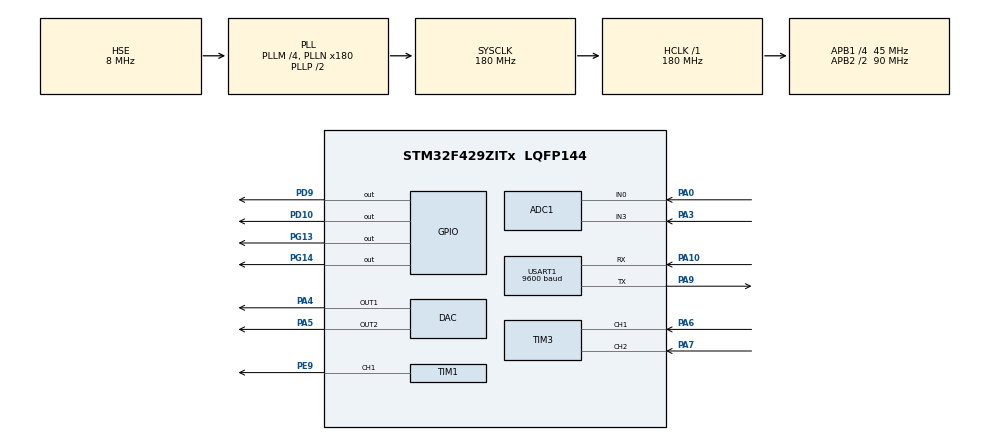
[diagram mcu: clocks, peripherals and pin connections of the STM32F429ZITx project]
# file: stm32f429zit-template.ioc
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ADC1.Channel-0\#ChannelRegularConversion=ADC_CHANNEL_0
ADC1.Channel-8\#ChannelRegularConversion=ADC_CHANNEL_3
ADC1.ContinuousConvMode=DISABLE
ADC1.DMAContinuousRequests=ENABLE
ADC1.EOCSelection=ADC_EOC_SINGLE_CONV
ADC1.ExternalTrigConv=ADC_EXTERNALTRIGCONV_T2_CC2
ADC1.ExternalTrigConvEdge=ADC_EXTERNALTRIGCONVEDGE_FALLING
ADC1.NbrOfConversion=2
ADC1.NbrOfConversionFlag=1
ADC1.Rank-0\#ChannelRegularConversion=1
ADC1.Rank-8\#ChannelRegularConversion=2
ADC1.SamplingTime-0\#ChannelRegularConversion=ADC_SAMPLETIME_15CYCLES
ADC1.SamplingTime-8\#ChannelRegularConversion=ADC_SAMPLETIME_15CYCLES
ADC1.master=1
Dma.ADC1.0.Direction=DMA_PERIPH_TO_MEMORY
Dma.ADC1.0.FIFOMode=DMA_FIFOMODE_DISABLE
Dma.ADC1.0.Instance=DMA2_Stream0
Dma.ADC1.0.MemDataAlignment=DMA_MDATAALIGN_HALFWORD
Dma.ADC1.0.MemInc=DMA_MINC_ENABLE
Dma.ADC1.0.Mode=DMA_CIRCULAR
Dma.ADC1.0.PeriphDataAlignment=DMA_PDATAALIGN_HALFWORD
Dma.ADC1.0.PeriphInc=DMA_PINC_DISABLE
Dma.ADC1.0.Priority=DMA_PRIORITY_LOW
Dma.Request0=ADC1
FREERTOS.Tasks01=defaultTask,24,128,StartDefaultTask,Default,NULL,Dynamic,NULL,NULL
FREERTOS.configUSE_NEWLIB_REENTRANT=1
Mcu.Family=STM32F4
Mcu.Name=STM32F429ZITx
Mcu.Package=LQFP144
NVIC.ADC_IRQn=true\:5\:0\:false\:false\:true\:true\:true\:true\:true
NVIC.DMA2_Stream0_IRQn=true\:5\:0\:false\:false\:true\:true\:false\:true\:true
NVIC.PriorityGroup=NVIC_PRIORITYGROUP_4
NVIC.TIM2_IRQn=true\:5\:0\:false\:false\:true\:true\:true\:true\:true
NVIC.TIM3_IRQn=true\:5\:0\:false\:false\:true\:true\:true\:true\:true
NVIC.TIM6_DAC_IRQn=true\:15\:0\:false\:false\:true\:false\:false\:true\:true
NVIC.TIM7_IRQn=true\:5\:0\:false\:false\:true\:true\:true\:true\:true
NVIC.TIM8_TRG_COM_TIM14_IRQn=true\:15\:0\:false\:false\:true\:false\:false\:true\:true
NVIC.TIM8_UP_TIM13_IRQn=true\:15\:0\:false\:false\:true\:false\:true\:true\:true
NVIC.TimeBase=TIM8_TRG_COM_TIM14_IRQn
NVIC.TimeBaseIP=TIM14
NVIC.USART1_IRQn=true\:5\:0\:false\:false\:true\:true\:true\:true\:true
PA0/WKUP.Signal=ADCx_IN0
PA10.Mode=Asynchronous
PA10.Signal=USART1_RX
PA13.Mode=Serial_Wire
PA13.Signal=SYS_JTMS-SWDIO
PA14.Mode=Serial_Wire
PA14.Signal=SYS_JTCK-SWCLK
PA3.Signal=ADCx_IN3
PA4.Signal=COMP_DAC1_group
PA5.Signal=COMP_DAC2_group
PA6.Signal=S_TIM3_CH1
PA7.Signal=S_TIM3_CH2
PA9.Mode=Asynchronous
PA9.Signal=USART1_TX
PD10.Signal=GPIO_Output
PD9.Signal=GPIO_Output
PE9.Signal=S_TIM1_CH1
PG13.Signal=GPIO_Output
PG14.Signal=GPIO_Output
PH0/OSC_IN.Mode=HSE-External-Oscillator
PH0/OSC_IN.Signal=RCC_OSC_IN
PH1/OSC_OUT.Mode=HSE-External-Oscillator
PH1/OSC_OUT.Signal=RCC_OSC_OUT
ProjectManager.HeapSize=0x200
ProjectManager.StackSize=0x400
ProjectManager.TargetToolchain=STM32CubeIDE
RCC.48MHZClocksFreq_Value=90000000
RCC.AHBFreq_Value=180000000
RCC.APB1CLKDivider=RCC_HCLK_DIV4
RCC.APB1Freq_Value=45000000
RCC.APB1TimFreq_Value=90000000
RCC.APB2CLKDivider=RCC_HCLK_DIV2
RCC.APB2Freq_Value=90000000
RCC.APB2TimFreq_Value=180000000
RCC.CortexFreq_Value=180000000
RCC.HCLKFreq_Value=180000000
RCC.HSE_VALUE=8000000
RCC.HSI_VALUE=16000000
RCC.LSE_VALUE=32768
RCC.PLLM=4
RCC.PLLN=180
RCC.PLLSourceVirtual=RCC_PLLSOURCE_HSE
RCC.SYSCLKFreq_VALUE=180000000
RCC.SYSCLKSource=RCC_SYSCLKSOURCE_PLLCLK
RCC.VCOOutputFreq_Value=360000000
SH.ADCx_IN0.0=ADC1_IN0,IN0
SH.ADCx_IN3.0=ADC1_IN3,IN3
SH.COMP_DAC1_group.0=DAC_OUT1,DAC_OUT1
SH.COMP_DAC2_group.0=DAC_OUT2,DAC_OUT2
SH.S_TIM1_CH1.0=TIM1_CH1,PWM Generation1 CH1
SH.S_TIM3_CH1.0=TIM3_CH1,Encoder_Interface
SH.S_TIM3_CH2.0=TIM3_CH2,Encoder_Interface
TIM1.Channel-PWM\ Generation1\ CH1=TIM_CHANNEL_1
TIM1.CounterMode=TIM_COUNTERMODE_CENTERALIGNED1
TIM1.TIM_MasterOutputTrigger=TIM_TRGO_UPDATE
TIM1.TIM_MasterSlaveMode=TIM_MASTERSLAVEMODE_ENABLE
TIM13.Period=900-1
TIM2.Channel-PWM\ Generation2\ No\ Output=TIM_CHANNEL_2
TIM3.EncoderMode=TIM_ENCODERMODE_TI12
TIM3.IC1Filter=8
TIM3.IC2Filter=8
TIM7.Period=10-1
TIM7.Prescaler=9000-1
USART1.BaudRate=9600
USART1.VirtualMode=VM_ASYNC
VP_FREERTOS_VS_CMSIS_V2.Mode=CMSIS_V2
VP_SYS_VS_tim14.Mode=TIM14
VP_TIM13_VS_ClockSourceINT.Mode=Enable_Timer
VP_TIM2_VS_ClockSourceITR.Mode=TriggerSource_ITR0
VP_TIM2_VS_ControllerModeReset.Mode=Reset Mode
VP_TIM2_VS_no_output2.Mode=PWM Generation2 No Output
VP_TIM7_VS_ClockSourceINT.Mode=Enable_Timer
board=custom

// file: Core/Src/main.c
/* USER CODE BEGIN Header */
/**
  ******************************************************************************
  * @file           : main.c
  * @brief          : Main program body
  ******************************************************************************
  * @attention
  *
  * Copyright (c) 2024 STMicroelectronics.
  * All rights reserved.
  *
  * This software is licensed under terms that can be found in the LICENSE file
  * in the root directory of this software component.
  * If no LICENSE file comes with this software, it is provided AS-IS.
  *
  ******************************************************************************
  */
/* USER CODE END Header */
#include "main.h"
#include "cmsis_os.h"

/* USER CODE BEGIN Includes */
#include "virtual_motor.h"
#include "arm_math.h"
#include <stdlib.h>
#include <string.h>
/* USER CODE END Includes */

/* USER CODE BEGIN PTD */
typedef enum
{
  MODE_OPEN_LOOP = 0,
  MODE_CLOSED_LOOP,
} control_mode_t;

typedef struct
{
  float duty_cycle;
  float meas_current;
  float meas_current_unfiltered;
  float meas_velocity;
  float meas_velocity_unfiltered;
  float meas_velocity_rpm;
  float meas_voltage;
  float target;

  control_mode_t control_mode;
  arm_pid_instance_f32 reg_velocity;
  float target_voltage;
  float target_rpm;
} dcmotor_t;

typedef struct
{
  float angle;
  uint32_t capture_cnt;
  int dir;
} encoder_t;
/* USER CODE END PTD */

/* USER CODE BEGIN PD */
#define UART_RX_BUF_SIZE 32
#define UART_TX_BUF_SIZE 64
/* USER CODE END PD */

/* USER CODE BEGIN PM */
#define UTILS_LP_FAST(value, sample, filter_constant) (value -= (filter_constant) * ((value) - (sample)))
/* USER CODE END PM */

ADC_HandleTypeDef hadc1;
DMA_HandleTypeDef hdma_adc1;

DAC_HandleTypeDef hdac;

TIM_HandleTypeDef htim1;
TIM_HandleTypeDef htim2;
TIM_HandleTypeDef htim3;
TIM_HandleTypeDef htim7;
TIM_HandleTypeDef htim13;

UART_HandleTypeDef huart1;

/* Definitions for defaultTask */
osThreadId_t defaultTaskHandle;
const osThreadAttr_t defaultTask_attributes = {
  .name = "defaultTask",
  .stack_size = 128 * 4,
  .priority = (osPriority_t) osPriorityNormal,
};
/* USER CODE BEGIN PV */
uint16_t adc_values[2] = {0};
uint16_t adc_sample_flag = 0;
uint8_t uart_byte = 0;

encoder_t encoder = {0};
dcmotor_t dcmotor = {0};

osThreadId_t voltageMeasTaskHandle;
const osThreadAttr_t voltageMeasTask_attributes = {
  .name = "voltageMeasTask",
  .stack_size = 128 * 2,
  .priority = (osPriority_t) osPriorityNormal1,
};
/* USER CODE END PV */

void SystemClock_Config(void);
static void MX_GPIO_Init(void);
static void MX_DMA_Init(void);
static void MX_TIM7_Init(void);
static void MX_TIM1_Init(void);
static void MX_ADC1_Init(void);
static void MX_TIM2_Init(void);
static void MX_TIM3_Init(void);
static void MX_USART1_UART_Init(void);
static void MX_TIM13_Init(void);
static void MX_DAC_Init(void);
void StartDefaultTask(void *argument);

/* USER CODE BEGIN PFP */
int parse_int_command(char *command);
void control_loop();
void voltageMeasTask(void *argument);
/* USER CODE END PFP */

int main(void)
{

  /* MCU Configuration--------------------------------------------------------*/

  /* Reset of all peripherals, Initializes the Flash interface and the Systick. */
  HAL_Init();

  /* Configure the system clock */
  SystemClock_Config();

  /* Initialize all configured peripherals */
  MX_GPIO_Init();
  MX_DMA_Init();
  MX_TIM7_Init();
  MX_TIM1_Init();
  MX_ADC1_Init();
  MX_TIM2_Init();
  MX_TIM3_Init();
  MX_USART1_UART_Init();
  MX_TIM13_Init();
  MX_DAC_Init();
  /* USER CODE BEGIN 2 */
  virtual_motor_reinit();

  dcmotor.control_mode = MODE_CLOSED_LOOP;

  dcmotor.reg_velocity.Kp = 0.01f;
  dcmotor.reg_velocity.Ki = 0.00005f;
  dcmotor.reg_velocity.Kd = 0.0f;
  arm_pid_init_f32(&dcmotor.reg_velocity, 1);

  HAL_TIM_Base_Start_IT(&htim7);

  HAL_TIM_Encoder_Start_IT(&htim3, TIM_CHANNEL_1);
  HAL_TIM_Encoder_Start_IT(&htim3, TIM_CHANNEL_2);

  HAL_ADC_Start_DMA(&hadc1, (uint32_t*)adc_values, 2);

  TIM2->PSC = 9 - 1;
  TIM2->CCR2 = 0xf;
  HAL_TIM_PWM_Start_IT(&htim2, TIM_CHANNEL_2);

  TIM1->ARR = (SystemCoreClock / 5000 / 2) - 1; // 5 KHz PWM
  TIM1->CCR1 = (uint16_t)(0.25f * (float)TIM1->ARR);
  HAL_TIM_PWM_Start(&htim1, TIM_CHANNEL_1);

  HAL_UART_Receive_IT(&huart1, &uart_byte, sizeof(uart_byte));
  /* USER CODE END 2 */

  /* Init scheduler */
  osKernelInitialize();

  /* Create the thread(s) */
  /* creation of defaultTask */
  defaultTaskHandle = osThreadNew(StartDefaultTask, NULL, &defaultTask_attributes);

  /* USER CODE BEGIN RTOS_THREADS */
  /* add threads, ... */
  // add freertos time measurements
  voltageMeasTaskHandle = osThreadNew(voltageMeasTask, NULL, &voltageMeasTask_attributes);
  /* USER CODE END RTOS_THREADS */

  /* Start scheduler */
  osKernelStart();

  /* We should never get here as control is now taken by the scheduler */
  /* Infinite loop */
  while (1)
  {

  }
}

void SystemClock_Config(void)
{
  RCC_OscInitTypeDef RCC_OscInitStruct = {0};
  RCC_ClkInitTypeDef RCC_ClkInitStruct = {0};

  /** Configure the main internal regulator output voltage
  */
  __HAL_RCC_PWR_CLK_ENABLE();
  __HAL_PWR_VOLTAGESCALING_CONFIG(PWR_REGULATOR_VOLTAGE_SCALE1);

  /** Initializes the RCC Oscillators according to the specified parameters
  * in the RCC_OscInitTypeDef structure.
  */
  RCC_OscInitStruct.OscillatorType = RCC_OSCILLATORTYPE_HSE;
  RCC_OscInitStruct.HSEState = RCC_HSE_ON;
  RCC_OscInitStruct.PLL.PLLState = RCC_PLL_ON;
  RCC_OscInitStruct.PLL.PLLSource = RCC_PLLSOURCE_HSE;
  RCC_OscInitStruct.PLL.PLLM = 4;
  RCC_OscInitStruct.PLL.PLLN = 180;
  RCC_OscInitStruct.PLL.PLLP = RCC_PLLP_DIV2;
  RCC_OscInitStruct.PLL.PLLQ = 4;
  if (HAL_RCC_OscConfig(&RCC_OscInitStruct) != HAL_OK)
  {
    Error_Handler();
  }

  /** Activate the Over-Drive mode
  */
  if (HAL_PWREx_EnableOverDrive() != HAL_OK)
  {
    Error_Handler();
  }

  /** Initializes the CPU, AHB and APB buses clocks
  */
  RCC_ClkInitStruct.ClockType = RCC_CLOCKTYPE_HCLK|RCC_CLOCKTYPE_SYSCLK
                              |RCC_CLOCKTYPE_PCLK1|RCC_CLOCKTYPE_PCLK2;
  RCC_ClkInitStruct.SYSCLKSource = RCC_SYSCLKSOURCE_PLLCLK;
  RCC_ClkInitStruct.AHBCLKDivider = RCC_SYSCLK_DIV1;
  RCC_ClkInitStruct.APB1CLKDivider = RCC_HCLK_DIV4;
  RCC_ClkInitStruct.APB2CLKDivider = RCC_HCLK_DIV2;

  if (HAL_RCC_ClockConfig(&RCC_ClkInitStruct, FLASH_LATENCY_5) != HAL_OK)
  {
    Error_Handler();
  }
}

static void MX_ADC1_Init(void)
{

  ADC_ChannelConfTypeDef sConfig = {0};

  /** Configure the global features of the ADC (Clock, Resolution, Data Alignment and number of conversion)
  */
  hadc1.Instance = ADC1;
  hadc1.Init.ClockPrescaler = ADC_CLOCK_SYNC_PCLK_DIV4;
  hadc1.Init.Resolution = ADC_RESOLUTION_12B;
  hadc1.Init.ScanConvMode = ENABLE;
  hadc1.Init.ContinuousConvMode = DISABLE;
  hadc1.Init.DiscontinuousConvMode = DISABLE;
  hadc1.Init.ExternalTrigConvEdge = ADC_EXTERNALTRIGCONVEDGE_FALLING;
  hadc1.Init.ExternalTrigConv = ADC_EXTERNALTRIGCONV_T2_CC2;
  hadc1.Init.DataAlign = ADC_DATAALIGN_RIGHT;
  hadc1.Init.NbrOfConversion = 2;
  hadc1.Init.DMAContinuousRequests = ENABLE;
  hadc1.Init.EOCSelection = ADC_EOC_SINGLE_CONV;
  if (HAL_ADC_Init(&hadc1) != HAL_OK)
  {
    Error_Handler();
  }

  /** Configure for the selected ADC regular channel its corresponding rank in the sequencer and its sample time.
  */
  sConfig.Channel = ADC_CHANNEL_0;
  sConfig.Rank = 1;
  sConfig.SamplingTime = ADC_SAMPLETIME_15CYCLES;
  if (HAL_ADC_ConfigChannel(&hadc1, &sConfig) != HAL_OK)
  {
    Error_Handler();
  }

  /** Configure for the selected ADC regular channel its corresponding rank in the sequencer and its sample time.
  */
  sConfig.Channel = ADC_CHANNEL_3;
  sConfig.Rank = 2;
  if (HAL_ADC_ConfigChannel(&hadc1, &sConfig) != HAL_OK)
  {
    Error_Handler();
  }

}

static void MX_DAC_Init(void)
{

  DAC_ChannelConfTypeDef sConfig = {0};

  /** DAC Initialization
  */
  hdac.Instance = DAC;
  if (HAL_DAC_Init(&hdac) != HAL_OK)
  {
    Error_Handler();
  }

  /** DAC channel OUT1 config
  */
  sConfig.DAC_Trigger = DAC_TRIGGER_NONE;
  sConfig.DAC_OutputBuffer = DAC_OUTPUTBUFFER_ENABLE;
  if (HAL_DAC_ConfigChannel(&hdac, &sConfig, DAC_CHANNEL_1) != HAL_OK)
  {
    Error_Handler();
  }

  /** DAC channel OUT2 config
  */
  if (HAL_DAC_ConfigChannel(&hdac, &sConfig, DAC_CHANNEL_2) != HAL_OK)
  {
    Error_Handler();
  }

}

static void MX_TIM1_Init(void)
{

  TIM_MasterConfigTypeDef sMasterConfig = {0};
  TIM_OC_InitTypeDef sConfigOC = {0};
  TIM_BreakDeadTimeConfigTypeDef sBreakDeadTimeConfig = {0};

  htim1.Instance = TIM1;
  htim1.Init.Prescaler = 0;
  htim1.Init.CounterMode = TIM_COUNTERMODE_CENTERALIGNED1;
  htim1.Init.Period = 65535;
  htim1.Init.ClockDivision = TIM_CLOCKDIVISION_DIV1;
  htim1.Init.RepetitionCounter = 0;
  htim1.Init.AutoReloadPreload = TIM_AUTORELOAD_PRELOAD_DISABLE;
  if (HAL_TIM_PWM_Init(&htim1) != HAL_OK)
  {
    Error_Handler();
  }
  sMasterConfig.MasterOutputTrigger = TIM_TRGO_UPDATE;
  sMasterConfig.MasterSlaveMode = TIM_MASTERSLAVEMODE_ENABLE;
  if (HAL_TIMEx_MasterConfigSynchronization(&htim1, &sMasterConfig) != HAL_OK)
  {
    Error_Handler();
  }
  sConfigOC.OCMode = TIM_OCMODE_PWM1;
  sConfigOC.Pulse = 0;
  sConfigOC.OCPolarity = TIM_OCPOLARITY_HIGH;
  sConfigOC.OCNPolarity = TIM_OCNPOLARITY_HIGH;
  sConfigOC.OCFastMode = TIM_OCFAST_DISABLE;
  sConfigOC.OCIdleState = TIM_OCIDLESTATE_RESET;
  sConfigOC.OCNIdleState = TIM_OCNIDLESTATE_RESET;
  if (HAL_TIM_PWM_ConfigChannel(&htim1, &sConfigOC, TIM_CHANNEL_1) != HAL_OK)
  {
    Error_Handler();
  }
  sBreakDeadTimeConfig.OffStateRunMode = TIM_OSSR_DISABLE;
  sBreakDeadTimeConfig.OffStateIDLEMode = TIM_OSSI_DISABLE;
  sBreakDeadTimeConfig.LockLevel = TIM_LOCKLEVEL_OFF;
  sBreakDeadTimeConfig.DeadTime = 0;
  sBreakDeadTimeConfig.BreakState = TIM_BREAK_DISABLE;
  sBreakDeadTimeConfig.BreakPolarity = TIM_BREAKPOLARITY_HIGH;
  sBreakDeadTimeConfig.AutomaticOutput = TIM_AUTOMATICOUTPUT_DISABLE;
  if (HAL_TIMEx_ConfigBreakDeadTime(&htim1, &sBreakDeadTimeConfig) != HAL_OK)
  {
    Error_Handler();
  }
  HAL_TIM_MspPostInit(&htim1);

}

static void MX_TIM2_Init(void)
{

  TIM_SlaveConfigTypeDef sSlaveConfig = {0};
  TIM_MasterConfigTypeDef sMasterConfig = {0};
  TIM_OC_InitTypeDef sConfigOC = {0};

  htim2.Instance = TIM2;
  htim2.Init.Prescaler = 0;
  htim2.Init.CounterMode = TIM_COUNTERMODE_UP;
  htim2.Init.Period = 4294967295;
  htim2.Init.ClockDivision = TIM_CLOCKDIVISION_DIV1;
  htim2.Init.AutoReloadPreload = TIM_AUTORELOAD_PRELOAD_DISABLE;
  if (HAL_TIM_Base_Init(&htim2) != HAL_OK)
  {
    Error_Handler();
  }
  if (HAL_TIM_PWM_Init(&htim2) != HAL_OK)
  {
    Error_Handler();
  }
  sSlaveConfig.SlaveMode = TIM_SLAVEMODE_RESET;
  sSlaveConfig.InputTrigger = TIM_TS_ITR0;
  if (HAL_TIM_SlaveConfigSynchro(&htim2, &sSlaveConfig) != HAL_OK)
  {
    Error_Handler();
  }
  sMasterConfig.MasterOutputTrigger = TIM_TRGO_RESET;
  sMasterConfig.MasterSlaveMode = TIM_MASTERSLAVEMODE_DISABLE;
  if (HAL_TIMEx_MasterConfigSynchronization(&htim2, &sMasterConfig) != HAL_OK)
  {
    Error_Handler();
  }
  sConfigOC.OCMode = TIM_OCMODE_PWM1;
  sConfigOC.Pulse = 0;
  sConfigOC.OCPolarity = TIM_OCPOLARITY_HIGH;
  sConfigOC.OCFastMode = TIM_OCFAST_DISABLE;
  if (HAL_TIM_PWM_ConfigChannel(&htim2, &sConfigOC, TIM_CHANNEL_2) != HAL_OK)
  {
    Error_Handler();
  }

}

static void MX_TIM3_Init(void)
{

  TIM_Encoder_InitTypeDef sConfig = {0};
  TIM_MasterConfigTypeDef sMasterConfig = {0};

  htim3.Instance = TIM3;
  htim3.Init.Prescaler = 0;
  htim3.Init.CounterMode = TIM_COUNTERMODE_UP;
  htim3.Init.Period = 65535;
  htim3.Init.ClockDivision = TIM_CLOCKDIVISION_DIV1;
  htim3.Init.AutoReloadPreload = TIM_AUTORELOAD_PRELOAD_DISABLE;
  sConfig.EncoderMode = TIM_ENCODERMODE_TI12;
  sConfig.IC1Polarity = TIM_ICPOLARITY_RISING;
  sConfig.IC1Selection = TIM_ICSELECTION_DIRECTTI;
  sConfig.IC1Prescaler = TIM_ICPSC_DIV1;
  sConfig.IC1Filter = 8;
  sConfig.IC2Polarity = TIM_ICPOLARITY_RISING;
  sConfig.IC2Selection = TIM_ICSELECTION_DIRECTTI;
  sConfig.IC2Prescaler = TIM_ICPSC_DIV1;
  sConfig.IC2Filter = 8;
  if (HAL_TIM_Encoder_Init(&htim3, &sConfig) != HAL_OK)
  {
    Error_Handler();
  }
  sMasterConfig.MasterOutputTrigger = TIM_TRGO_RESET;
  sMasterConfig.MasterSlaveMode = TIM_MASTERSLAVEMODE_DISABLE;
  if (HAL_TIMEx_MasterConfigSynchronization(&htim3, &sMasterConfig) != HAL_OK)
  {
    Error_Handler();
  }

}

static void MX_TIM7_Init(void)
{

  TIM_MasterConfigTypeDef sMasterConfig = {0};

  htim7.Instance = TIM7;
  htim7.Init.Prescaler = 9000-1;
  htim7.Init.CounterMode = TIM_COUNTERMODE_UP;
  htim7.Init.Period = 10-1;
  htim7.Init.AutoReloadPreload = TIM_AUTORELOAD_PRELOAD_DISABLE;
  if (HAL_TIM_Base_Init(&htim7) != HAL_OK)
  {
    Error_Handler();
  }
  sMasterConfig.MasterOutputTrigger = TIM_TRGO_RESET;
  sMasterConfig.MasterSlaveMode = TIM_MASTERSLAVEMODE_DISABLE;
  if (HAL_TIMEx_MasterConfigSynchronization(&htim7, &sMasterConfig) != HAL_OK)
  {
    Error_Handler();
  }

}

static void MX_TIM13_Init(void)
{

  htim13.Instance = TIM13;
  htim13.Init.Prescaler = 0;
  htim13.Init.CounterMode = TIM_COUNTERMODE_UP;
  htim13.Init.Period = 900-1;
  htim13.Init.ClockDivision = TIM_CLOCKDIVISION_DIV1;
  htim13.Init.AutoReloadPreload = TIM_AUTORELOAD_PRELOAD_DISABLE;
  if (HAL_TIM_Base_Init(&htim13) != HAL_OK)
  {
    Error_Handler();
  }

}

static void MX_USART1_UART_Init(void)
{

  huart1.Instance = USART1;
  huart1.Init.BaudRate = 9600;
  huart1.Init.WordLength = UART_WORDLENGTH_8B;
  huart1.Init.StopBits = UART_STOPBITS_1;
  huart1.Init.Parity = UART_PARITY_NONE;
  huart1.Init.Mode = UART_MODE_TX_RX;
  huart1.Init.HwFlowCtl = UART_HWCONTROL_NONE;
  huart1.Init.OverSampling = UART_OVERSAMPLING_16;
  if (HAL_UART_Init(&huart1) != HAL_OK)
  {
    Error_Handler();
  }

}

static void MX_DMA_Init(void)
{

  /* DMA controller clock enable */
  __HAL_RCC_DMA2_CLK_ENABLE();

  /* DMA interrupt init */
  /* DMA2_Stream0_IRQn interrupt configuration */
  HAL_NVIC_SetPriority(DMA2_Stream0_IRQn, 5, 0);
  HAL_NVIC_EnableIRQ(DMA2_Stream0_IRQn);

}

static void MX_GPIO_Init(void)
{
  GPIO_InitTypeDef GPIO_InitStruct = {0};

  /* GPIO Ports Clock Enable */
  __HAL_RCC_GPIOH_CLK_ENABLE();
  __HAL_RCC_GPIOA_CLK_ENABLE();
  __HAL_RCC_GPIOE_CLK_ENABLE();
  __HAL_RCC_GPIOD_CLK_ENABLE();
  __HAL_RCC_GPIOG_CLK_ENABLE();

  /*Configure GPIO pin Output Level */
  HAL_GPIO_WritePin(GPIOD, GPIO_PIN_9|GPIO_PIN_10, GPIO_PIN_RESET);

  /*Configure GPIO pin Output Level */
  HAL_GPIO_WritePin(GPIOG, GPIO_PIN_13|GPIO_PIN_14, GPIO_PIN_RESET);

  /*Configure GPIO pins : PD9 PD10 */
  GPIO_InitStruct.Pin = GPIO_PIN_9|GPIO_PIN_10;
  GPIO_InitStruct.Mode = GPIO_MODE_OUTPUT_PP;
  GPIO_InitStruct.Pull = GPIO_NOPULL;
  GPIO_InitStruct.Speed = GPIO_SPEED_FREQ_LOW;
  HAL_GPIO_Init(GPIOD, &GPIO_InitStruct);

  /*Configure GPIO pins : PG13 PG14 */
  GPIO_InitStruct.Pin = GPIO_PIN_13|GPIO_PIN_14;
  GPIO_InitStruct.Mode = GPIO_MODE_OUTPUT_PP;
  GPIO_InitStruct.Pull = GPIO_NOPULL;
  GPIO_InitStruct.Speed = GPIO_SPEED_FREQ_LOW;
  HAL_GPIO_Init(GPIOG, &GPIO_InitStruct);

}

/* USER CODE BEGIN 4 */
void HAL_UART_RxCpltCallback(UART_HandleTypeDef *huart)
{
  static char rx_buf[UART_RX_BUF_SIZE] = {0};
  static char tx_buf[UART_TX_BUF_SIZE] = {0};
  static int rx_buf_idx = 0;

  if (huart != &huart1)
  {
    return;
  }

  if (rx_buf_idx >= UART_RX_BUF_SIZE)
  {
    // Произошло переполнение буфера
    rx_buf_idx = 0;
    memset((void *)rx_buf, 0, UART_RX_BUF_SIZE);
  }

  rx_buf[rx_buf_idx++] = uart_byte;

  if ((rx_buf_idx > 2) && (rx_buf[rx_buf_idx - 2] == '\r') && (rx_buf[rx_buf_idx - 1] == '\n'))
  {
    // Очистка буфера отправки
    memset((void *)tx_buf, 0, UART_TX_BUF_SIZE);

    if (!strcmp(rx_buf, "vm_connect\r\n"))
    {
      const char msg[] = "virtual motor connected\r\n";
      memcpy((void *)tx_buf, (void *)msg, sizeof(msg));
      HAL_UART_Transmit(&huart1, (void *)tx_buf, strlen(tx_buf), 100);

      virtual_motor_commander(VM_CONNECT);
    }
    else if (!strcmp(rx_buf, "vm_disconnect\r\n"))
    {
      const char msg[] = "virtual motor disconnected\r\n";
      memcpy((void *)tx_buf, (void *)msg, sizeof(msg));
      HAL_UART_Transmit(&huart1, (void *)tx_buf, strlen(tx_buf), 100);

      virtual_motor_commander(VM_DISCONNECT);
    }
    else if (!strcmp(rx_buf, "vm_load_inc\r\n"))
    {
      const char msg[] = "virtual motor load torque increased\r\n";
      memcpy((void *)tx_buf, (void *)msg, sizeof(msg));
      HAL_UART_Transmit(&huart1, (void *)tx_buf, strlen(tx_buf), 100);

      virtual_motor_commander(VM_LOAD_INC);
    }
    else if (!strcmp(rx_buf, "vm_load_dec\r\n"))
    {
      const char msg[] = "virtual motor load torque decreased\r\n";
      memcpy((void *)tx_buf, (void *)msg, sizeof(msg));
      HAL_UART_Transmit(&huart1, (void *)tx_buf, strlen(tx_buf), 100);

      virtual_motor_commander(VM_LOAD_DEC);
    }
    else if (strstr(rx_buf, "set_mode"))
    {
    	int mode = parse_int_command(rx_buf);
    	if (mode != -1)
    	{
    		// TODO: check enumeration
    		dcmotor.control_mode = mode;
    	}
    }
    else if (strstr(rx_buf, "set_target"))
    {
      int target = parse_int_command(rx_buf);
      if (target != -1)
      {
        dcmotor.target = (float)target * 0.01f;
      }
    }
    else
    {
      const char msg[] = "unknown command!\r\n";
      memcpy((void *)tx_buf, (void *)msg, sizeof(msg));
      HAL_UART_Transmit(&huart1, (void *)tx_buf, strlen(tx_buf), 100);
    }
    // Очищаем буфер
    rx_buf_idx = 0;
    memset((void *)rx_buf, 0, UART_RX_BUF_SIZE);
  }

  // Снова включаем приём 1 байта по прерыванию
  HAL_UART_Receive_IT(&huart1, &uart_byte, sizeof(uart_byte));
}

void HAL_TIM_IC_CaptureCallback(TIM_HandleTypeDef *htim)
{
  if (htim == &htim3)
  {
    if (htim3.Channel == HAL_TIM_ACTIVE_CHANNEL_1)
    {
      encoder.capture_cnt++;
      if (TIM3->CR1 & TIM_CR1_DIR)
      {
        encoder.dir = -1;
      }
      else
      {
        encoder.dir = 1;
      }
    }
  }
}

void HAL_ADC_ConvCpltCallback(ADC_HandleTypeDef *hadc) {

	if (hadc == &hadc1) {
		if (!(TIM1->CR1 & TIM_CR1_DIR)) {
			adc_sample_flag = (adc_sample_flag == 0) ? (0xfff + 0xff) : 0;

			/*
			    ADC step voltage = 3.3 / 4096 ≈ 0.00080586 V per step
			    I = (min) + (V_ADC / 3.3) * (max - min)
			    V_ADC = ADC_value * 0.00080586
			    I = -50 + ((ADC_value * 0.00080586) / 3.3) * 100
			    I = -50 + (ADC_value * 0.00080586 * 100) / 3.3
			    I = -50 + ADC_value * 0.0244
			 */
			dcmotor.meas_current_unfiltered = -50.0f + adc_values[0] * 0.0244f;
			UTILS_LP_FAST(dcmotor.meas_current, dcmotor.meas_current_unfiltered, 0.01f);
		}
	}
}

void control_loop() {
	if (dcmotor.target == 0.0f)
	{
		dcmotor.target_voltage = 0.0f;
		dcmotor.duty_cycle = 0.0f;
		TIM1->CCR1 = 0;
		return;
	}
	switch (dcmotor.control_mode)
	{
	case MODE_OPEN_LOOP:
	{
		dcmotor.target_voltage = V_BUS * dcmotor.target;
		dcmotor.duty_cycle = dcmotor.target;
		break;
	}
	case MODE_CLOSED_LOOP:
	{
		dcmotor.target_rpm = (dcmotor.target * RPM_MAX);
		float target_vel = dcmotor.target_rpm / 9.549297f;

		arm_pid_f32(&dcmotor.reg_velocity, target_vel - dcmotor.meas_velocity);
		if (dcmotor.reg_velocity.state[2] > V_BUS)
		{
			dcmotor.reg_velocity.state[2] = V_BUS;
		}
		else if (dcmotor.reg_velocity.state[2] < 0.0f)
		{
			dcmotor.reg_velocity.state[2] = 0.0f;
		}
		dcmotor.target_voltage = dcmotor.reg_velocity.state[2];
		dcmotor.duty_cycle = dcmotor.target_voltage / V_BUS;
		break;
	}
	}

	TIM1->CCR1 = (uint16_t)(dcmotor.duty_cycle * (float)TIM1->ARR);
}

int parse_int_command(char *command)
{
  // Find the first underscore
  const char *first_underscore = strchr(command, '_');
  if (first_underscore)
  {
    // Find the second underscore
    const char *second_underscore = strchr(first_underscore + 1, '_');
    if (second_underscore)
    {
      const char *num_str = second_underscore + 1;
      int num = atoi(num_str);

      // Validate the range of the integer
      if (num >= 0 && num <= 100)
      {
        return num;
      }
    }
  }
  return -1;
}

void voltageMeasTask(void *argument) {

	while (1) {
		uint16_t adc = adc_values[1];
		dcmotor.meas_voltage = (adc / 4095.0f) * 3.3f;
		osDelay(1);
	}
}

/* USER CODE END 4 */

void StartDefaultTask(void *argument)
{
  /* USER CODE BEGIN 5 */
  /* Infinite loop */
  for(;;)
  {
	HAL_GPIO_TogglePin(GPIOG, GPIO_PIN_13);
    osDelay(1000);
  }
  /* USER CODE END 5 */
}

void HAL_TIM_PeriodElapsedCallback(TIM_HandleTypeDef *htim)
{
	/* USER CODE BEGIN Callback 0 */
	// Этот обратный вызов автоматически вызывается HAL при возникновении события UEV
	// Передача управления HAL, который обрабатывает IRQ
	static uint32_t enc_capture_cnt_prev = 0;
	static uint32_t enc_cutback_cnt = 0;
	/* USER CODE END Callback 0 */
	if (htim->Instance == TIM14) {
		HAL_IncTick();
	}
	/* USER CODE BEGIN Callback 1 */
	else if (htim == &htim7) {
		if (enc_cutback_cnt++ >= 1000)
		{
			dcmotor.meas_velocity = 0.0f;
			dcmotor.meas_velocity_rpm = 0.0f;
			dcmotor.meas_velocity_unfiltered = 0.0f;
			enc_cutback_cnt = 0;
		}

		if (encoder.capture_cnt != enc_capture_cnt_prev)
		{
			const float angle_per_pulse = (2.0f * PI) / (float)ENCODER_PPR;
			int32_t enc_capture_diff = abs(encoder.capture_cnt - enc_capture_cnt_prev);
			dcmotor.meas_velocity_unfiltered = (float)encoder.dir * ((float)enc_capture_diff * angle_per_pulse) / ((float)enc_cutback_cnt / 1000.0f);
			UTILS_LP_FAST(dcmotor.meas_velocity, dcmotor.meas_velocity_unfiltered, 0.1f);
			dcmotor.meas_velocity_rpm = dcmotor.meas_velocity * 9.549297f;

			enc_capture_cnt_prev = encoder.capture_cnt;
			enc_cutback_cnt = 0;
		}

		control_loop();

	} else if (htim == &htim13) {
		virtual_motor_run(dcmotor.duty_cycle);
	}
	/* USER CODE END Callback 1 */
}

void Error_Handler(void)
{
  __disable_irq();
  while (1)
  {
  }
}
